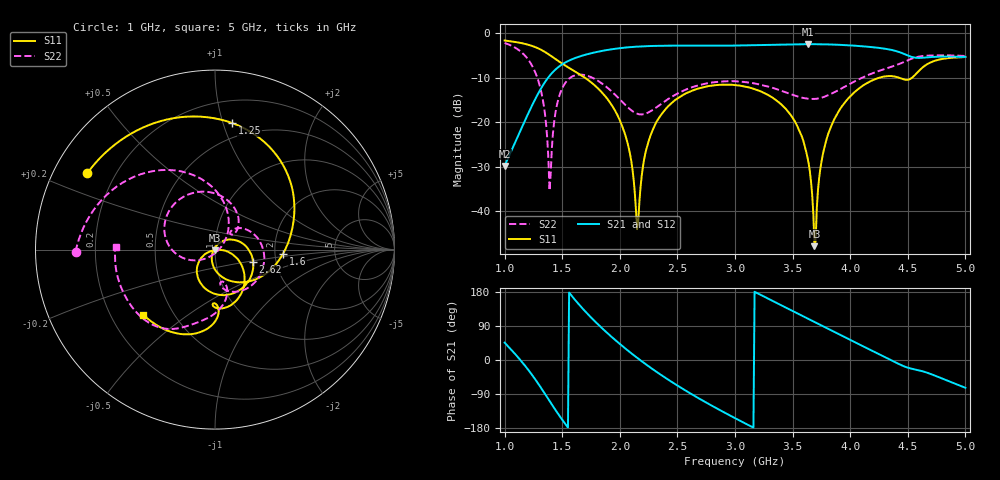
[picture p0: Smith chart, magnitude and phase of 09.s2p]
!Agilent Technologies,N5224A,MY51441093,A.09.90.21
!Agilent N5224A: A.09.90.21
!Date: Wednesday, October 01, 2025 16:38:18
!Correction: S11(Full 2 Port(1,2))
!S21(Full 2 Port(1,2))
!S12(Full 2 Port(1,2))
!S22(Full 2 Port(1,2))
!S2P File: Measurements: S11, S21, S12, S22:
# Hz S  dB  R 50
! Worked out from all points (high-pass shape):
!   401 points, 1 GHz to 5 GHz, reference 50 ohm
!   highest |S21| = -2.47 dB at 3.63 GHz (marker M1); lowest = -29.8 dB at 1 GHz (marker M2)
!   |S21| within 3 dB of the highest: 1.624 GHz to 4.558 GHz (2.934 GHz wide, 94.9 % of centre); 4.652 GHz to end of sweep
!   lowest |S11| = -47.9 dB at 3.69 GHz (marker M3), VSWR 1.01, Z = 49.8 - j0.344 ohm
!   |S11| at or under -10 dB: 1.697 GHz to 4.254 GHz (2.557 GHz wide, 85.9 % of centre); 4.423 GHz to 4.537 GHz (113.5 MHz wide, 2.53 % of centre)
!   |S22| runs from -35.4 to -2.2 dB; largest |S21 - S12| = 0.004
!   S11 on the Smith chart (normalised r, x): 1 GHz: 0.10, +0.27; 1.25 GHz: 0.38, +1.07; 1.6 GHz: 2.21, -0.12; 2.62 GHz: 1.52, -0.22; 5 GHz: 0.34, -0.35
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1e9  -1.63 149.0  -29.83 45.9  -29.80 45.8  -2.19 -179.2
1.25e9  -2.96 82.1  -15.63 -44.3  -15.62 -44.3  -7.87 101.5
1.33e9  -3.91 59.4  -11.82 -79.9  -11.81 -79.9  -14.70 65.5
1.39e9  -4.88 43.2  -9.59 -108.0  -9.59 -108.0  -35.36 -22.5
1.47e9  -6.32 24.1  -7.55 -144.7  -7.54 -144.7  -14.51 -166.3
1.6e9  -8.42 -3.6  -5.70 162.8  -5.69 162.8  -9.57 141.7
1.67e9  -9.54 -18.6  -5.08 138.2  -5.07 138.1  -9.32 118.5
1.84e9  -13.19 -56.0  -4.01 85.6  -3.99 85.6  -11.21 72.3
2.01e9  -20.19 -94.5  -3.33 39.9  -3.32 39.9  -15.15 43.4
2.15e9  -44.07 171.1  -3.02 5.9  -3.01 5.9  -18.09 42.1
2.23e9  -26.12 53.7  -2.91 -12.2  -2.90 -12.2  -18.03 47.8
2.34e9  -19.04 29.6  -2.83 -35.7  -2.82 -35.7  -16.27 47.5
2.62e9  -13.00 -18.2  -2.80 -89.6  -2.78 -89.5  -12.20 15.4
3e9  -11.67 -74.1  -2.77 -153.4  -2.75 -153.4  -10.80 -37.1
3.42e9  -16.46 -132.3  -2.55 141.5  -2.53 141.5  -13.10 -78.1
3.63e9  -28.02 -158.3  -2.47 109.4  -2.46 109.4  -14.72 -79.9
3.67e9  -36.37 -157.0  -2.47 103.3  -2.46 103.2  -14.78 -78.2
3.69e9  -47.88 -121.2  -2.47 100.2  -2.46 100.2  -14.78 -77.3
3.76e9  -27.59 -4.1  -2.49 89.5  -2.47 89.5  -14.43 -74.5
3.87e9  -18.94 -18.0  -2.57 72.7  -2.55 72.6  -13.17 -72.6
4.34e9  -9.63 -82.9  -3.66 1.8  -3.63 1.5  -7.69 -102.5
5e9  -5.35 -137.6  -5.31 -73.3  -5.30 -73.5  -5.12 178.3
